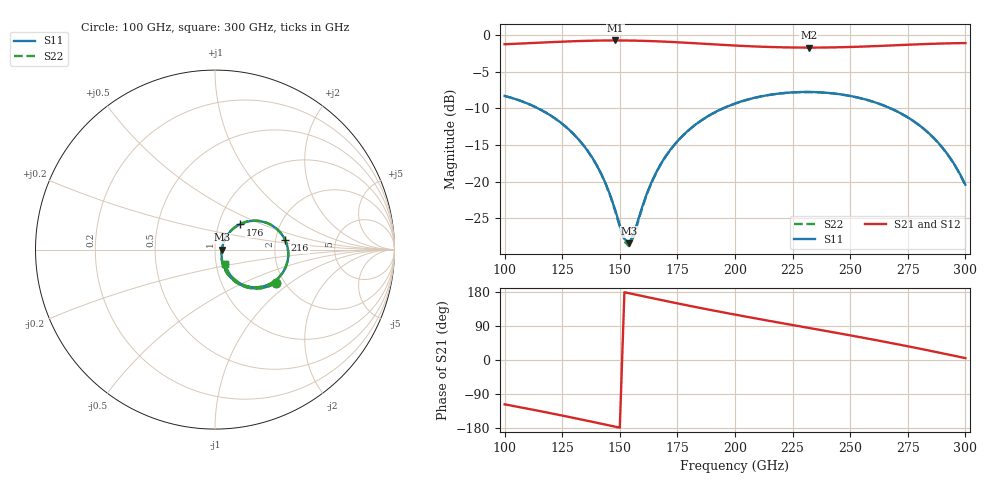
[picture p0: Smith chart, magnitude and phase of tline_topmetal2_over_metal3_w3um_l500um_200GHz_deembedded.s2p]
! Created with skrf 2.2.0 (http://scikit-rf.org).
# GHz S DB R 50.0
! Port[1] = P1
! Port[2] = P2
!freq dBS11 angS11 dBS21 angS21 dBS12 angS12 dBS22 angS22
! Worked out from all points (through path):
!   101 points, 100 GHz to 300 GHz, reference 50 ohm
!   highest |S21| = -0.72 dB at 148 GHz (marker M1); lowest = -1.7 dB at 232 GHz (marker M2)
!   group delay of S21, straight-line fit = 3.28 ps
!   lowest |S11| = -28.4 dB at 154 GHz (marker M3), VSWR 1.08, Z = 54 - j0.131 ohm
!   |S11| at or under -10 dB: 114.6 GHz to 194.7 GHz (80.14 GHz wide, 51.8 % of centre); 267.6 GHz to end of sweep
!   |S22| runs from -28.8 to -7.8 dB; largest |S21 - S12| = 1e-13
!   S11 on the Smith chart (normalised r, x): 100 GHz: 1.81, -0.78; 176 GHz: 1.26, +0.37; 216 GHz: 2.25, +0.29; 300 GHz: 1.10, -0.17
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100  -8.29 -28.5  -1.23 -117.0  -1.23 -117.0  -8.29 -28.7
120  -10.97 -48.5  -0.95 -140.5  -0.95 -140.5  -10.97 -48.8
134  -14.93 -60.5  -0.78 -157.9  -0.78 -157.9  -14.94 -61.0
142  -18.96 -62.7  -0.73 -168.2  -0.73 -168.2  -19.00 -63.5
148  -23.86 -53.5  -0.72 -176.0  -0.72 -176.0  -23.99 -54.8
152  -27.81 -26.1  -0.72 178.8  -0.72 178.8  -28.14 -27.2
154  -28.40 -1.8  -0.73 176.3  -0.73 176.3  -28.80 -1.8
156  -27.19 20.4  -0.74 173.7  -0.74 173.7  -27.50 21.5
162  -21.41 46.7  -0.79 165.9  -0.79 165.9  -21.50 47.7
168  -17.47 49.5  -0.86 158.3  -0.86 158.3  -17.51 50.2
176  -14.13 45.5  -0.98 148.2  -0.98 148.2  -14.15 45.9
186  -11.50 37.0  -1.16 136.1  -1.16 136.1  -11.52 37.4
200  -9.33 23.6  -1.41 119.8  -1.41 119.8  -9.34 23.9
216  -8.09 8.0  -1.62 102.1  -1.62 102.1  -8.10 8.2
232  -7.75 -7.5  -1.69 84.7  -1.69 84.7  -7.76 -7.3
234  -7.76 -9.4  -1.69 82.5  -1.69 82.5  -7.77 -9.2
252  -8.42 -26.7  -1.59 62.8  -1.59 62.8  -8.43 -26.6
268  -10.05 -42.0  -1.40 44.5  -1.40 44.5  -10.06 -41.9
278  -11.83 -50.8  -1.26 32.5  -1.26 32.5  -11.85 -50.8
286  -13.94 -56.7  -1.17 22.7  -1.17 22.7  -13.96 -56.7
294  -17.04 -59.3  -1.10 12.6  -1.10 12.6  -17.07 -59.5
300  -20.40 -54.9  -1.08 5.0  -1.08 5.0  -20.47 -55.3
